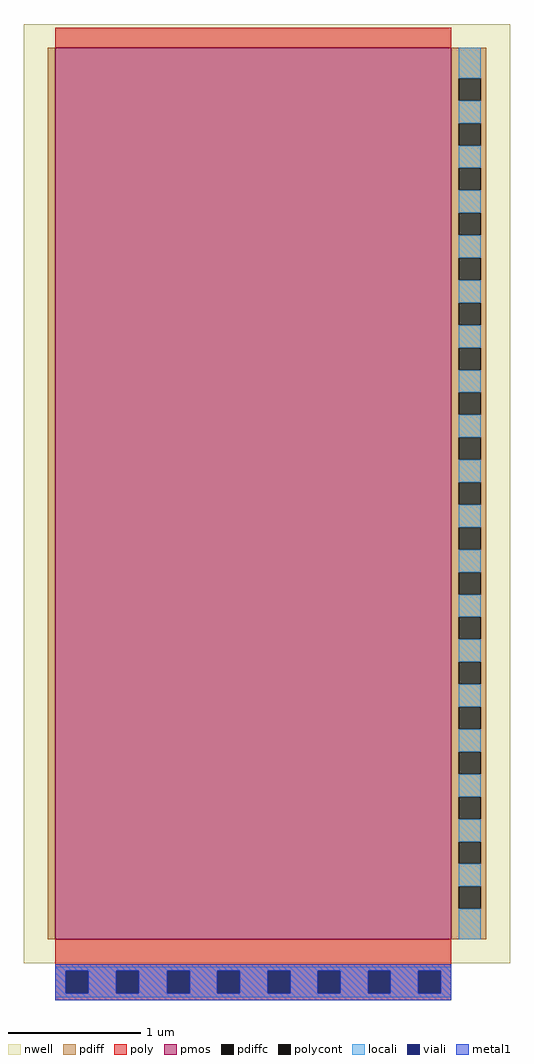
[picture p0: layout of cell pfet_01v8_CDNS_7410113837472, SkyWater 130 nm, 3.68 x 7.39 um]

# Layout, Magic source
magic
tech sky130A
magscale 1 2
<< nwell >>
rect -47 -36 689 1386
<< pmos >>
rect 0 0 600 1350
<< pdiff >>
rect -11 0 0 1350
rect 600 1304 653 1350
rect 600 1270 611 1304
rect 645 1270 653 1304
rect 600 1236 653 1270
rect 600 1202 611 1236
rect 645 1202 653 1236
rect 600 1168 653 1202
rect 600 1134 611 1168
rect 645 1134 653 1168
rect 600 1100 653 1134
rect 600 1066 611 1100
rect 645 1066 653 1100
rect 600 1032 653 1066
rect 600 998 611 1032
rect 645 998 653 1032
rect 600 964 653 998
rect 600 930 611 964
rect 645 930 653 964
rect 600 896 653 930
rect 600 862 611 896
rect 645 862 653 896
rect 600 828 653 862
rect 600 794 611 828
rect 645 794 653 828
rect 600 760 653 794
rect 600 726 611 760
rect 645 726 653 760
rect 600 692 653 726
rect 600 658 611 692
rect 645 658 653 692
rect 600 624 653 658
rect 600 590 611 624
rect 645 590 653 624
rect 600 556 653 590
rect 600 522 611 556
rect 645 522 653 556
rect 600 488 653 522
rect 600 454 611 488
rect 645 454 653 488
rect 600 420 653 454
rect 600 386 611 420
rect 645 386 653 420
rect 600 352 653 386
rect 600 318 611 352
rect 645 318 653 352
rect 600 284 653 318
rect 600 250 611 284
rect 645 250 653 284
rect 600 216 653 250
rect 600 182 611 216
rect 645 182 653 216
rect 600 148 653 182
rect 600 114 611 148
rect 645 114 653 148
rect 600 80 653 114
rect 600 46 611 80
rect 645 46 653 80
rect 600 0 653 46
<< pdiffc >>
rect 611 1270 645 1304
rect 611 1202 645 1236
rect 611 1134 645 1168
rect 611 1066 645 1100
rect 611 998 645 1032
rect 611 930 645 964
rect 611 862 645 896
rect 611 794 645 828
rect 611 726 645 760
rect 611 658 645 692
rect 611 590 645 624
rect 611 522 645 556
rect 611 454 645 488
rect 611 386 645 420
rect 611 318 645 352
rect 611 250 645 284
rect 611 182 645 216
rect 611 114 645 148
rect 611 46 645 80
<< poly >>
rect 0 1350 600 1380
rect 0 -48 600 0
rect 0 -82 16 -48
rect 50 -82 93 -48
rect 127 -82 170 -48
rect 204 -82 246 -48
rect 280 -82 322 -48
rect 356 -82 398 -48
rect 432 -82 474 -48
rect 508 -82 550 -48
rect 584 -82 600 -48
rect 0 -92 600 -82
<< polycont >>
rect 16 -82 50 -48
rect 93 -82 127 -48
rect 170 -82 204 -48
rect 246 -82 280 -48
rect 322 -82 356 -48
rect 398 -82 432 -48
rect 474 -82 508 -48
rect 550 -82 584 -48
<< locali >>
rect 611 1304 645 1350
rect 611 1236 645 1270
rect 611 1168 645 1202
rect 611 1100 645 1134
rect 611 1032 645 1066
rect 611 964 645 998
rect 611 896 645 930
rect 611 828 645 862
rect 611 760 645 794
rect 611 692 645 726
rect 611 624 645 658
rect 611 556 645 590
rect 611 488 645 522
rect 611 420 645 454
rect 611 352 645 386
rect 611 284 645 318
rect 611 216 645 250
rect 611 148 645 182
rect 611 80 645 114
rect 611 0 645 46
rect 0 -48 600 -42
rect 0 -82 16 -48
rect 50 -82 93 -48
rect 127 -82 170 -48
rect 204 -82 246 -48
rect 280 -82 322 -48
rect 356 -82 398 -48
rect 432 -82 474 -48
rect 508 -82 550 -48
rect 584 -82 600 -48
rect 0 -88 600 -82
<< viali >>
rect 16 -82 50 -48
rect 93 -82 127 -48
rect 170 -82 204 -48
rect 246 -82 280 -48
rect 322 -82 356 -48
rect 398 -82 432 -48
rect 474 -82 508 -48
rect 550 -82 584 -48
<< metal1 >>
rect 0 -48 600 -38
rect 0 -82 16 -48
rect 50 -82 93 -48
rect 127 -82 170 -48
rect 204 -82 246 -48
rect 280 -82 322 -48
rect 356 -82 398 -48
rect 432 -82 474 -48
rect 508 -82 550 -48
rect 584 -82 600 -48
rect 0 -92 600 -82
<< end >>
